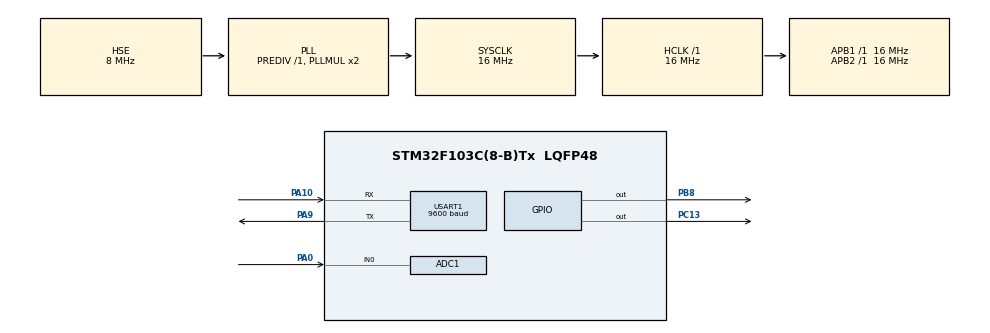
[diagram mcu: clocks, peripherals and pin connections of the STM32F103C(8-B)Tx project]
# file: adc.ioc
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ADC1.Channel-1\#ChannelRegularConversion=ADC_CHANNEL_0
ADC1.NbrOfConversionFlag=1
ADC1.Rank-1\#ChannelRegularConversion=1
ADC1.SamplingTime-1\#ChannelRegularConversion=ADC_SAMPLETIME_1CYCLE_5
ADC1.master=1
Mcu.Family=STM32F1
Mcu.Name=STM32F103C(8-B)Tx
Mcu.Package=LQFP48
NVIC.ADC1_2_IRQn=true\:0\:0\:false\:false\:true\:true\:true
NVIC.PriorityGroup=NVIC_PRIORITYGROUP_4
PA0-WKUP.Signal=ADCx_IN0
PA10.Mode=Asynchronous
PA10.Signal=USART1_RX
PA13.Mode=Serial_Wire
PA13.Signal=SYS_JTMS-SWDIO
PA14.Mode=Serial_Wire
PA14.Signal=SYS_JTCK-SWCLK
PA9.Mode=Asynchronous
PA9.Signal=USART1_TX
PB8.Signal=GPIO_Output
PC13-TAMPER-RTC.Signal=GPIO_Output
PC14-OSC32_IN.Mode=LSE-External-Oscillator
PC14-OSC32_IN.Signal=RCC_OSC32_IN
PC15-OSC32_OUT.Mode=LSE-External-Oscillator
PC15-OSC32_OUT.Signal=RCC_OSC32_OUT
PD0-OSC_IN.Mode=HSE-External-Oscillator
PD0-OSC_IN.Signal=RCC_OSC_IN
PD1-OSC_OUT.Mode=HSE-External-Oscillator
PD1-OSC_OUT.Signal=RCC_OSC_OUT
ProjectManager.HeapSize=0x200
ProjectManager.StackSize=0x400
ProjectManager.TargetToolchain=MDK-ARM V5
RCC.AHBFreq_Value=16000000
RCC.APB1Freq_Value=16000000
RCC.APB1TimFreq_Value=16000000
RCC.APB2Freq_Value=16000000
RCC.APB2TimFreq_Value=16000000
RCC.HCLKFreq_Value=16000000
RCC.PLLSourceVirtual=RCC_PLLSOURCE_HSE
RCC.SYSCLKFreq_VALUE=16000000
RCC.SYSCLKSource=RCC_SYSCLKSOURCE_PLLCLK
RCC.USBFreq_Value=16000000
SH.ADCx_IN0.0=ADC1_IN0,IN0
USART1.BaudRate=9600
USART1.VirtualMode=VM_ASYNC
board=custom

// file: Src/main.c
/* USER CODE BEGIN Header */
/**
  ******************************************************************************
  * @file           : main.c
  * @brief          : Main program body
  ******************************************************************************
  * @attention
  *
  * <h2><center>&copy; Copyright (c) 2023 STMicroelectronics.
  * All rights reserved.</center></h2>
  *
  * This software component is licensed by ST under BSD 3-Clause license,
  * the "License"; You may not use this file except in compliance with the
  * License. You may obtain a copy of the License at:
  *                        opensource.org/licenses/BSD-3-Clause
  *
  ******************************************************************************
  */
/* USER CODE END Header */

#include "main.h"
#include "adc.h"
#include "usart.h"
#include "gpio.h"

void SystemClock_Config(void);

/* USER CODE BEGIN 0 */
#include "stdio.h"
#define LED1_ON() HAL_GPIO_WritePin(GPIOC,GPIO_PIN_13,GPIO_PIN_RESET)
#define LED1_OFF() HAL_GPIO_WritePin(GPIOC,GPIO_PIN_13,GPIO_PIN_SET)

uint16_t ADC_Value=0,ADC_Volt=0;
uint8_t str_buffer[64];

void UR1_Send_Info()
{
sprintf((char*)str_buffer,"采样值：%d，电压值：%d.%d%dV\r\n",ADC_Value,ADC_Volt/1000,(ADC_Volt%1000)/100,(ADC_Volt%100)/10);
	HAL_UART_Transmit(&huart1,str_buffer,sizeof(str_buffer),10000);
}

void ADC0_Get_Value()
{
HAL_ADC_Start(&hadc1);
	LED1_ON();
	if(HAL_OK==HAL_ADC_PollForConversion(&hadc1,10))
	{
	ADC_Value=HAL_ADC_GetValue(&hadc1);
		ADC_Volt=ADC_Value*3300/4096;
	}
	UR1_Send_Info();
	LED1_OFF();
	HAL_ADC_Stop(&hadc1);
}
/* USER CODE END 0 */

int main(void)
{

  /* MCU Configuration--------------------------------------------------------*/

  /* Reset of all peripherals, Initializes the Flash interface and the Systick. */
  HAL_Init();

  /* Configure the system clock */
  SystemClock_Config();

  /* Initialize all configured peripherals */
  MX_GPIO_Init();
  MX_ADC1_Init();
  MX_USART1_UART_Init();

  /* Infinite loop */
  /* USER CODE BEGIN WHILE */
  while (1)
  {
		ADC0_Get_Value();
		HAL_Delay(500);
    /* USER CODE END WHILE */

  }
}

void SystemClock_Config(void)
{
  RCC_OscInitTypeDef RCC_OscInitStruct = {0};
  RCC_ClkInitTypeDef RCC_ClkInitStruct = {0};
  RCC_PeriphCLKInitTypeDef PeriphClkInit = {0};

  /** Initializes the CPU, AHB and APB busses clocks
  */
  RCC_OscInitStruct.OscillatorType = RCC_OSCILLATORTYPE_HSE;
  RCC_OscInitStruct.HSEState = RCC_HSE_ON;
  RCC_OscInitStruct.HSEPredivValue = RCC_HSE_PREDIV_DIV1;
  RCC_OscInitStruct.HSIState = RCC_HSI_ON;
  RCC_OscInitStruct.PLL.PLLState = RCC_PLL_ON;
  RCC_OscInitStruct.PLL.PLLSource = RCC_PLLSOURCE_HSE;
  RCC_OscInitStruct.PLL.PLLMUL = RCC_PLL_MUL2;
  if (HAL_RCC_OscConfig(&RCC_OscInitStruct) != HAL_OK)
  {
    Error_Handler();
  }
  /** Initializes the CPU, AHB and APB busses clocks
  */
  RCC_ClkInitStruct.ClockType = RCC_CLOCKTYPE_HCLK|RCC_CLOCKTYPE_SYSCLK
                              |RCC_CLOCKTYPE_PCLK1|RCC_CLOCKTYPE_PCLK2;
  RCC_ClkInitStruct.SYSCLKSource = RCC_SYSCLKSOURCE_PLLCLK;
  RCC_ClkInitStruct.AHBCLKDivider = RCC_SYSCLK_DIV1;
  RCC_ClkInitStruct.APB1CLKDivider = RCC_HCLK_DIV1;
  RCC_ClkInitStruct.APB2CLKDivider = RCC_HCLK_DIV1;

  if (HAL_RCC_ClockConfig(&RCC_ClkInitStruct, FLASH_LATENCY_0) != HAL_OK)
  {
    Error_Handler();
  }
  PeriphClkInit.PeriphClockSelection = RCC_PERIPHCLK_ADC;
  PeriphClkInit.AdcClockSelection = RCC_ADCPCLK2_DIV2;
  if (HAL_RCCEx_PeriphCLKConfig(&PeriphClkInit) != HAL_OK)
  {
    Error_Handler();
  }
}

void Error_Handler(void)
{
}

/************************ (C) COPYRIGHT STMicroelectronics *****END OF FILE****/
